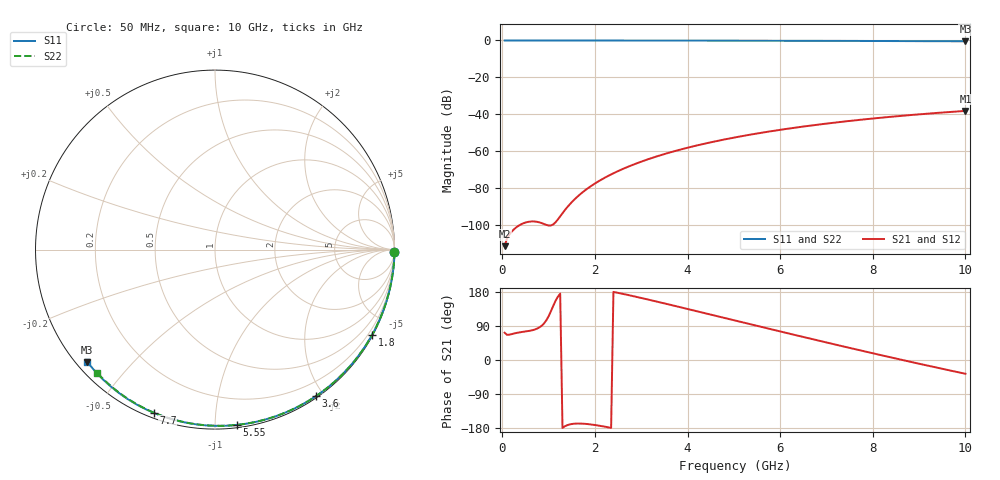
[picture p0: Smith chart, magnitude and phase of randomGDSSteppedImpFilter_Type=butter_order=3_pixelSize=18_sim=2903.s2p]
! freq	dB(S11)	phase(S11)	dB(S12)	phase(S12)
!  dB(S21)	phase(S21)	dB(S22)	phase(S22)
!S-par simulation data
#  GHz  S  DB  R 50
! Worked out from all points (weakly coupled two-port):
!   200 points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, 50 MHz to 10 GHz, reference 50 ohm
!   highest |S21| = -38.20 dB at 10 GHz (marker M1); lowest = -111.6 dB at 50 MHz (marker M2)
!   lowest |S11| = -0.5 dB at 10 GHz (marker M3), VSWR 37.00, Z = 1.54 - j18.8 ohm
!   |S11| at or under -10 dB: nowhere
!   |S22| runs from -0.5 to 0.0 dB; largest |S21 - S12| = 0
!   S11 on the Smith chart (normalised r, x): 50 MHz: open; 1.8 GHz: 0.03, -3.94; 3.6 GHz: 0.02, -1.90; 5.55 GHz: 0.02, -1.13; 7.7 GHz: 0.02, -0.69; 10 GHz: 0.03, -0.38
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0.05  -0.00 -0.8  -111.56 72.1  -111.56 72.1  -0.00 -0.8
0.45  -0.01 -7.2  -99.20 74.3  -99.20 74.3  -0.01 -6.9
0.9  -0.02 -14.4  -99.52 96.4  -99.52 96.4  -0.02 -13.8
1.75  -0.04 -27.7  -82.00 -168.1  -82.00 -168.1  -0.03 -26.6
1.8  -0.04 -28.5  -81.03 -168.6  -81.03 -168.6  -0.03 -27.3
1.85  -0.04 -29.2  -80.11 -169.2  -80.11 -169.2  -0.04 -28.1
2.15  -0.04 -33.8  -75.32 -174.5  -75.32 -174.5  -0.04 -32.5
2.35  -0.05 -36.9  -72.64 -179.1  -72.64 -179.1  -0.05 -35.5
2.55  -0.05 -39.9  -70.26 175.9  -70.26 175.9  -0.05 -38.4
2.95  -0.06 -46.0  -66.18 165.1  -66.18 165.1  -0.06 -44.2
3.4  -0.07 -52.6  -62.37 152.3  -62.37 152.3  -0.07 -50.6
3.6  -0.07 -55.6  -60.87 146.5  -60.87 146.5  -0.07 -53.5
3.9  -0.08 -59.9  -58.82 137.7  -58.82 137.7  -0.08 -57.7
4.3  -0.09 -65.6  -56.36 125.8  -56.36 125.8  -0.09 -63.2
5.05  -0.12 -76.1  -52.46 103.5  -52.46 103.5  -0.11 -73.3
5.55  -0.14 -82.9  -50.25 88.6  -50.25 88.6  -0.13 -79.8
6.1  -0.16 -90.2  -48.10 72.4  -48.10 72.4  -0.15 -86.9
6.7  -0.19 -98.0  -46.03 54.9  -46.03 54.9  -0.18 -94.5
7.7  -0.25 -110.6  -43.10 26.2  -43.10 26.2  -0.24 -106.7
8.35  -0.30 -118.7  -41.48 8.0  -41.48 8.0  -0.29 -114.4
9.2  -0.38 -129.0  -39.66 -15.2  -39.66 -15.2  -0.37 -124.4
10  -0.47 -138.7  -38.20 -36.3  -38.20 -36.3  -0.45 -133.8
